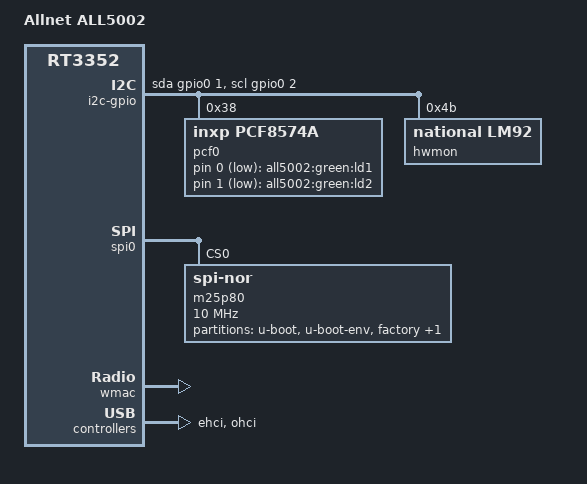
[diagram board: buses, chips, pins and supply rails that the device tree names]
/dts-v1/;

#include "rt3352.dtsi"

/ {
	compatible = "ALL5002", "ralink,rt3352-soc";
	model = "Allnet ALL5002";

	i2c-gpio {
		compatible = "i2c-gpio";
		gpios = <&gpio0 1 0 &gpio0 2 0>;
		i2c-gpio,delay-us = <10>;

		pcf0: iexp@38 {
			#gpio-cells = <2>;
			compatible = "inxp,pcf8574a";
			reg = <0x38>;
			gpio-controller;
		};

		hwmon@4b {
			compatible = "national,lm92";
			reg = <0x4b>;
		};
	};

	gpio-leds {
		compatible = "gpio-leds";

		ld1 {
			label = "all5002:green:ld1";
			gpios = <&pcf0 0 1>;
		};

		ld2 {
			label = "all5002:green:ld2";
			gpios = <&pcf0 1 1>;
		};
	};
};

&gpio0 {
	status = "okay";
};

&spi0 {
	status = "okay";

	m25p80@0 {
		#address-cells = <1>;
		#size-cells = <1>;
		compatible = "jedec,spi-nor";
		reg = <0>;
		linux,modalias = "m25p80", "mx25l25635e";
		spi-max-frequency = <10000000>;

		partition@0 {
			label = "u-boot";
			reg = <0x0 0x30000>;
			read-only;
		};

		partition@30000 {
			label = "u-boot-env";
			reg = <0x30000 0x10000>;
			read-only;
		};

		factory: partition@40000 {
			label = "factory";
			reg = <0x40000 0x10000>;
			read-only;
		};

		partition@50000 {
			label = "firmware";
			reg = <0x50000 0x1fb0000>;
		};
	};
};

&pinctrl {
	state_default: pinctrl0 {
		gpio {
			ralink,group = "i2c", "jtag", "rgmii", "mdio", "uartf";
			ralink,function = "gpio";
		};
	};
};

&ethernet {
	mtd-mac-address = <&factory 0x28>;
};

&esw {
	mediatek,portmap = <0x3f>;
};

&wmac {
	ralink,mtd-eeprom = <&factory 0>;
};

&ehci {
	status = "okay";
};

&ohci {
	status = "okay";
};
